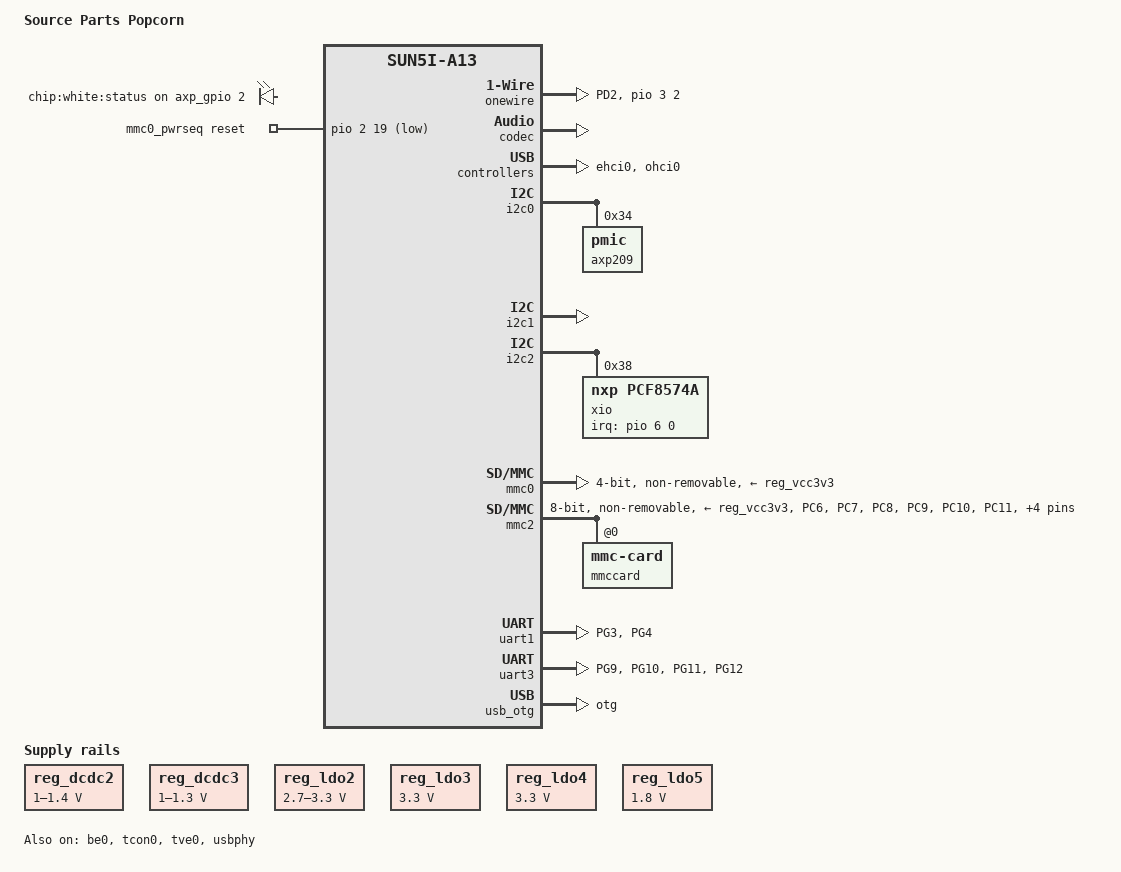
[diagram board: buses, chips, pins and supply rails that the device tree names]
/*
 * Copyright 2015 Free Electrons
 * Copyright 2015 NextThing Co
 * Copyright 2019 Source Parts Inc
 *
 * Aleksandr Gusarov <alexandergusarov@gmail.com>
 *
 * This file is dual-licensed: you can use it either under the terms
 * of the GPL or the X11 license, at your option. Note that this dual
 * licensing only applies to this file, and not this project as a
 * whole.
 *
 *  a) This file is free software; you can redistribute it and/or
 *     modify it under the terms of the GNU General Public License as
 *     published by the Free Software Foundation; either version 2 of the
 *     License, or (at your option) any later version.
 *
 *     This file is distributed in the hope that it will be useful,
 *     but WITHOUT ANY WARRANTY; without even the implied warranty of
 *     MERCHANTABILITY or FITNESS FOR A PARTICULAR PURPOSE.  See the
 *     GNU General Public License for more details.
 *
 * Or, alternatively,
 *
 *  b) Permission is hereby granted, free of charge, to any person
 *     obtaining a copy of this software and associated documentation
 *     files (the "Software"), to deal in the Software without
 *     restriction, including without limitation the rights to use,
 *     copy, modify, merge, publish, distribute, sublicense, and/or
 *     sell copies of the Software, and to permit persons to whom the
 *     Software is furnished to do so, subject to the following
 *     conditions:
 *
 *     The above copyright notice and this permission notice shall be
 *     included in all copies or substantial portions of the Software.
 *
 *     THE SOFTWARE IS PROVIDED "AS IS", WITHOUT WARRANTY OF ANY KIND,
 *     EXPRESS OR IMPLIED, INCLUDING BUT NOT LIMITED TO THE WARRANTIES
 *     OF MERCHANTABILITY, FITNESS FOR A PARTICULAR PURPOSE AND
 *     NONINFRINGEMENT. IN NO EVENT SHALL THE AUTHORS OR COPYRIGHT
 *     HOLDERS BE LIABLE FOR ANY CLAIM, DAMAGES OR OTHER LIABILITY,
 *     WHETHER IN AN ACTION OF CONTRACT, TORT OR OTHERWISE, ARISING
 *     FROM, OUT OF OR IN CONNECTION WITH THE SOFTWARE OR THE USE OR
 *     OTHER DEALINGS IN THE SOFTWARE.
 */

/dts-v1/;
#include "sun5i-r8.dtsi"
#include "sunxi-common-regulators.dtsi"

#include <dt-bindings/gpio/gpio.h>
#include <dt-bindings/interrupt-controller/irq.h>

/ {
	model = "Source Parts Popcorn";
	compatible = "sourceparts,popcorn", "nextthing,chip",
	             "allwinner,sun5i-r8", "allwinner,sun5i-a13";

	aliases {
		i2c0 = &i2c0;
		i2c1 = &i2c1;
		i2c2 = &i2c2;
		serial0 = &uart1;
		serial1 = &uart3;
		spi0 = &spi2;
	};

	chosen {
		stdout-path = "serial0:115200n8";
	};

	leds {
		compatible = "gpio-leds";

		status {
			label = "chip:white:status";
			gpios = <&axp_gpio 2 GPIO_ACTIVE_HIGH>;
			default-state = "on";
		};
	};

	mmc0_pwrseq: mmc0_pwrseq {
		compatible = "mmc-pwrseq-simple";
		reset-gpios = <&pio 2 19 GPIO_ACTIVE_LOW>; /* PC19 */
	};

	onewire {
		compatible = "w1-gpio";
		gpios = <&pio 3 2 GPIO_ACTIVE_HIGH>; /* PD2 */
		pinctrl-names = "default";
		pinctrl-0 = <&chip_w1_pin>;
	};
};

&be0 {
	status = "okay";
};

&codec {
	status = "okay";
};

&cpu0 {
	cpu-supply = <&reg_dcdc2>;
};

&ehci0 {
	status = "okay";
};

&i2c0 {
	status = "okay";

	axp209: pmic@34 {
		reg = <0x34>;

		/*
		 * The interrupt is routed through the "External Fast
		 * Interrupt Request" pin (ball G13 of the module)
		 * directly to the main interrupt controller, without
		 * any other controller interfering.
		 */
		interrupts = <0>;
	};
};

#include "axp209.dtsi"

&i2c1 {
	pinctrl-names = "default";
	pinctrl-0 = <&i2c1_pins_a>;
	status = "okay";
};

&i2c2 {
	pinctrl-names = "default";
	pinctrl-0 = <&i2c2_pins_a>;
	status = "okay";

	xio: gpio@38 {
		compatible = "nxp,pcf8574a";
		reg = <0x38>;

		gpio-controller;
		#gpio-cells = <2>;

		interrupt-parent = <&pio>;
		interrupts = <6 0 IRQ_TYPE_EDGE_FALLING>;
		interrupt-controller;
		#interrupt-cells = <2>;
	};
};

&mmc0 {
	vmmc-supply = <&reg_vcc3v3>;
	mmc-pwrseq = <&mmc0_pwrseq>;
	bus-width = <4>;
	non-removable;
	status = "okay";
};

&mmc2 {
	pinctrl-names = "default";
	pinctrl-0 = <&mmc2_8bit_pins>;
	vmmc-supply = <&reg_vcc3v3>;
	bus-width = <8>;
	non-removable;
	status = "okay";

	mmccard: mmccard@0 {
		reg = <0>;
		compatible = "mmc-card";
	};
};

&ohci0 {
	status = "okay";
};

&otg_sram {
	status = "okay";
};

&pio {
	mmc0_pins: mmc0-pins {
		pins = "PF0", "PF1", "PF2", "PF3",
		       "PF4", "PF5";
		function = "mmc0";
		drive-strength = <30>;
		bias-pull-up;
	};

	mmc2_8bit_pins: mmc2-8bit-pins {
		pins = "PC6", "PC7", "PC8", "PC9",
		       "PC10", "PC11", "PC12", "PC13",
		       "PC14", "PC15";
		function = "mmc2";
		drive-strength = <30>;
		bias-pull-up;
	};

	spi2_pe_pins: spi2-pe-pins {
		pins = "PE1", "PE2", "PE3";
		function = "spi2";
	};

	uart1_pg_pins: uart1-pg-pins {
		pins = "PG3", "PG4";
		function = "uart1";
	};

	uart3_pg_pins: uart3-pg-pins {
		pins = "PG9", "PG10";
		function = "uart3";
	};

	uart3_cts_rts_pg_pins: uart3-cts-rts-pg-pins {
		pins = "PG11", "PG12";
		function = "uart3";
	};

	chip_w1_pin: chip-w1-pin {
		pins = "PD2";
		function = "gpio_in";
		bias-pull-up;
	};
};

&reg_dcdc2 {
	regulator-min-microvolt = <1000000>;
	regulator-max-microvolt = <1400000>;
	regulator-name = "cpuvdd";
	regulator-always-on;
};

&reg_dcdc3 {
	regulator-min-microvolt = <1000000>;
	regulator-max-microvolt = <1300000>;
	regulator-name = "corevdd";
	regulator-always-on;
};

&reg_ldo1 {
	regulator-name = "rtcvdd";
};

&reg_ldo2 {
	regulator-min-microvolt = <2700000>;
	regulator-max-microvolt = <3300000>;
	regulator-name = "avcc";
	regulator-always-on;
};

/*
 * Both LDO3 and LDO4 are used in parallel to power up the WiFi/BT
 * Chip.
 *
 * If those are not enabled, the SDIO part will not enumerate, and
 * since there's no way currently to pass DT infos to an SDIO device,
 * we cannot really do better than this ugly hack for now.
 */
&reg_ldo3 {
	regulator-min-microvolt = <3300000>;
	regulator-max-microvolt = <3300000>;
	regulator-name = "vcc-wifi-1";
	regulator-always-on;
};

&reg_ldo4 {
	regulator-min-microvolt = <3300000>;
	regulator-max-microvolt = <3300000>;
	regulator-name = "vcc-wifi-2";
	regulator-always-on;
};

&reg_ldo5 {
	regulator-min-microvolt = <1800000>;
	regulator-max-microvolt = <1800000>;
	regulator-name = "vcc-1v8";
};



&spi2 {
	pinctrl-names = "default";
	pinctrl-0 = <&spi2_pe_pins>;
	status = "disabled";
};

&tcon0 {
	status = "okay";
};

&tve0 {
	status = "okay";
};

&uart1 {
	pinctrl-names = "default";
	pinctrl-0 = <&uart1_pg_pins>;
	status = "okay";
};

&uart3 {
	pinctrl-names = "default";
	pinctrl-0 = <&uart3_pg_pins>,
		    <&uart3_cts_rts_pg_pins>;
	status = "okay";
};

&usb_otg {
	dr_mode = "otg";
	status = "okay";
};

&usb_power_supply {
	status = "okay";
};

&usbphy {
	status = "okay";

	usb0_id_det-gpio = <&pio 6 2 GPIO_ACTIVE_HIGH>; /* PG2 */
	usb0_vbus_power-supply = <&usb_power_supply>;
	usb0_vbus-supply = <&reg_vcc5v0>;
	usb1_vbus-supply = <&reg_vcc5v0>;
};
